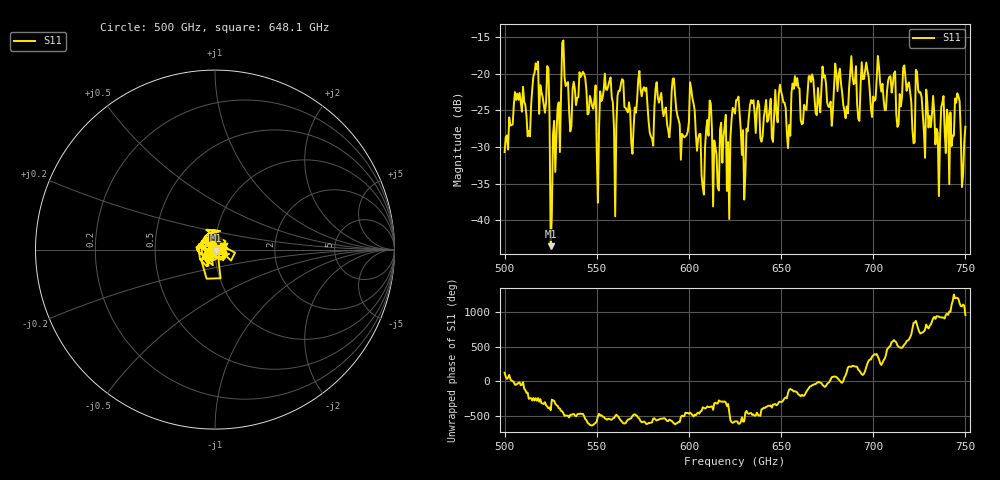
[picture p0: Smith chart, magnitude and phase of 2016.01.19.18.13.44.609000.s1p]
!Created with skrf (http://scikit-rf.org).
# GHz S RI R 50.0
!freq ReS11 ImS11
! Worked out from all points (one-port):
!   401 points, 500 GHz to 750 GHz, reference 50 ohm
!   lowest |S11| = -43.5 dB at 525 GHz (marker M1), VSWR 1.01, Z = 50.3 - j0.594 ohm
!   |S11| at or under -10 dB: start of sweep to end of sweep
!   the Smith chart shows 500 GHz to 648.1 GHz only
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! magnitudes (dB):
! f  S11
! 500 GHz  -30.7
! 506.9 GHz  -22.7
! 513.1 GHz  -27.8
! 516.9 GHz  -18.6
! 523.1 GHz  -19.0
! 525 GHz  -43.5
! 526.2 GHz  -28.3
! 531.2 GHz  -15.8
! 542.5 GHz  -19.7
! 551.2 GHz  -27.3
! 553.1 GHz  -23.3
! 559.4 GHz  -27.6
! 562.5 GHz  -22.3
! 569.4 GHz  -30.9
! 573.8 GHz  -22.1
! 593.8 GHz  -25.7
! 601.9 GHz  -23.3
! 607.5 GHz  -35.5
! 611.2 GHz  -23.6
! 614.4 GHz  -30.0
! 621.9 GHz  -39.8
! 625 GHz  -25.4
! 630 GHz  -37.2
! 633.8 GHz  -23.6
! 656.2 GHz  -21.3
! 687.5 GHz  -19.9
! 718.8 GHz  -21.5
! 750 GHz  -27.2
